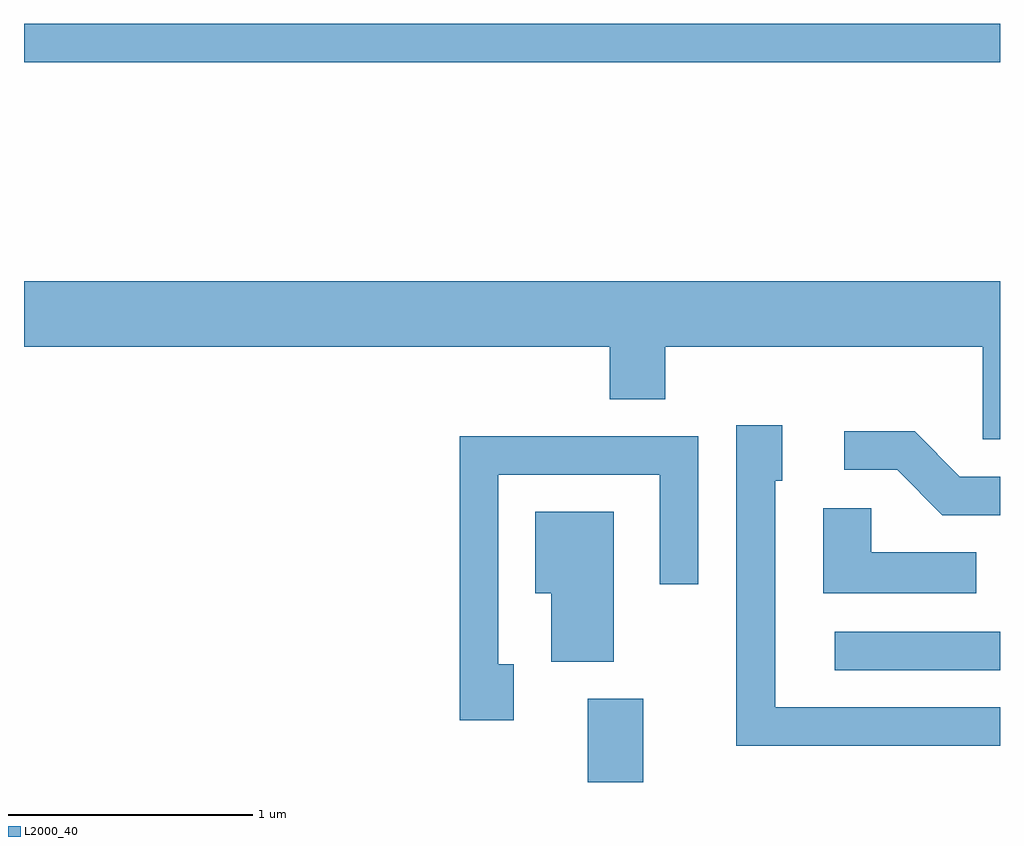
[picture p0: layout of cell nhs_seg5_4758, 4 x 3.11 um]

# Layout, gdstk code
import gdstk
lib = gdstk.Library(unit=1e-6, precision=1e-09)
def R(c, l, rs):  # rectangles x0, y0, x1, y1
    for r in rs: c.add(gdstk.rectangle(r[:2], r[2:], *l))
def P(c, l, *ps):  # polygons
    for p in ps: c.add(gdstk.Polygon(p, *l))
L2000_40 = (2000, 40)

nhs_seg5_4758 = lib.new_cell('nhs_seg5_4758')
R(nhs_seg5_4758, L2000_40, [(327.921,1506.072,328.149,1506.414), (328.933,1506.531,329.611,1506.689), (325.611,1509.021,329.611,1509.179)])
P(nhs_seg5_4758, L2000_40, [(329.611,1508.124),(325.611,1508.124),(325.611,1507.856),(328.011,1507.856),(328.011,1507.641),(328.239,1507.641),(328.239,1507.856),(329.541,1507.856),(329.541,1507.476),(329.611,1507.476)],
  [(329.611,1506.379),(328.689,1506.379),(328.689,1507.306),(328.719,1507.306),(328.719,1507.534),(328.531,1507.534),(328.531,1506.221),(329.611,1506.221)],
  [(329.611,1507.324),(329.447,1507.324),(329.262,1507.509),(328.973,1507.509),(328.973,1507.351),(329.189,1507.351),(329.374,1507.166),(329.611,1507.166)],
  [(327.619,1506.554),(327.554,1506.554),(327.554,1507.331),(328.216,1507.331),(328.216,1506.883),(328.374,1506.883),(328.374,1507.489),(327.396,1507.489),(327.396,1506.326),(327.619,1506.326)],
  [(329.513,1507.014),(329.084,1507.014),(329.084,1507.194),(328.886,1507.194),(328.886,1506.846),(329.513,1506.846)],
  [(328.029,1507.179),(327.706,1507.179),(327.706,1506.846),(327.771,1506.846),(327.771,1506.566),(328.029,1506.566)])

lib.write_gds('nhs_seg5_4758.gds')
